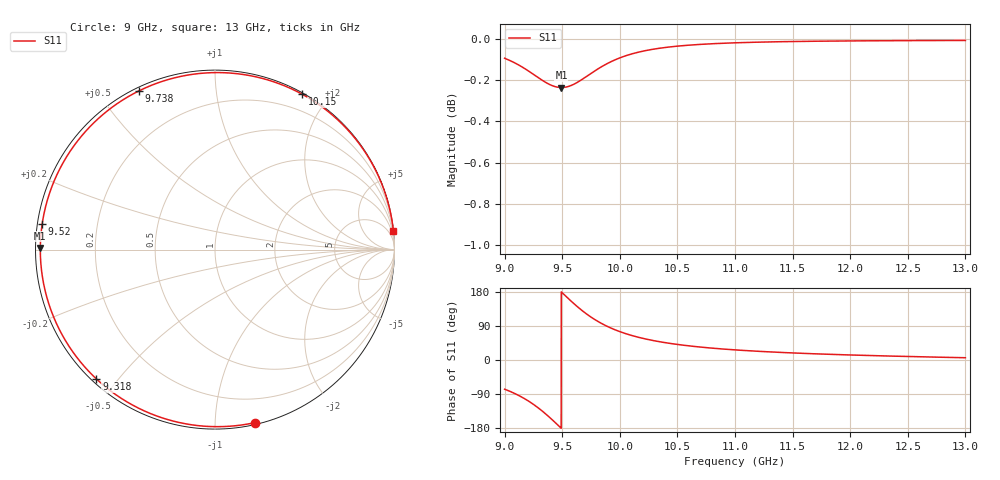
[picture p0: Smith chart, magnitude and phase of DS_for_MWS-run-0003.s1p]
! TOUCHSTONE file generated by CST DESIGN STUDIO
! Date and time: Tue Feb  4 14:14:31 2025
! Project name: C:\Work\MatlabApps\UnitCellOptimizationMatlab\CST\unitcell.cst
! Tree item: Tasks\Sweep1\SPara1\S-Parameters
! Header version: 2024
! Port assignment regex: !\s*Touchstone port\s*([0-9]+)\s*=\s*(CST MWS port|CST DES external port|CST DES block port)\s*(.+)\s* \(\"(.*)\"\)(\s*mode\s*([0-9]+))?.*
! Touchstone port assignment:
! Touchstone port 1 = CST DES external port 1 ("")
# GHz S MA R 50
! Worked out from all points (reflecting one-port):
!   4001 points, 9 GHz to 13 GHz, reference 50 ohm
!   lowest |S11| = -0.2 dB at 9.493 GHz (marker M1), VSWR 73.94, Z = 0.676 + j0.245 ohm
!   phase of S11 starts at -77 deg and turns -277 deg over the sweep
!   S11 on the Smith chart (normalised r, x): 9 GHz: 0.01, -1.26; 9.318 GHz: 0.01, -0.44; 9.52 GHz: 0.01, +0.07; 9.738 GHz: 0.01, +0.63; 10.15 GHz: 0.01, +1.71; 13 GHz: 0, +19
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9  0.9894 -77.0
9.082  0.987 -87.6
9.182  0.9834 -103.6
9.253  0.9804 -117.7
9.318  0.9776 -132.6
9.364  0.9758 -144.3
9.413  0.9744 -157.6
9.454  0.9736 -169.3
9.493  0.9733 179.4
9.5  0.9733 177.4
9.52  0.9734 171.6
9.574  0.9743 156.2
9.634  0.9762 140.1
9.685  0.9783 127.5
9.738  0.9805 115.7
9.791  0.9827 105.2
9.85  0.985 95.0
9.924  0.9875 84.2
10  0.9896 74.9
10.153  0.9926 60.6
10.31  0.9946 50.2
10.5  0.9961 41.1
10.722  0.9972 33.5
11  0.998 26.7
11.5  0.9987 18.6
12  0.999 13.3
12.5  0.9992 9.3
13  0.9993 6.0
